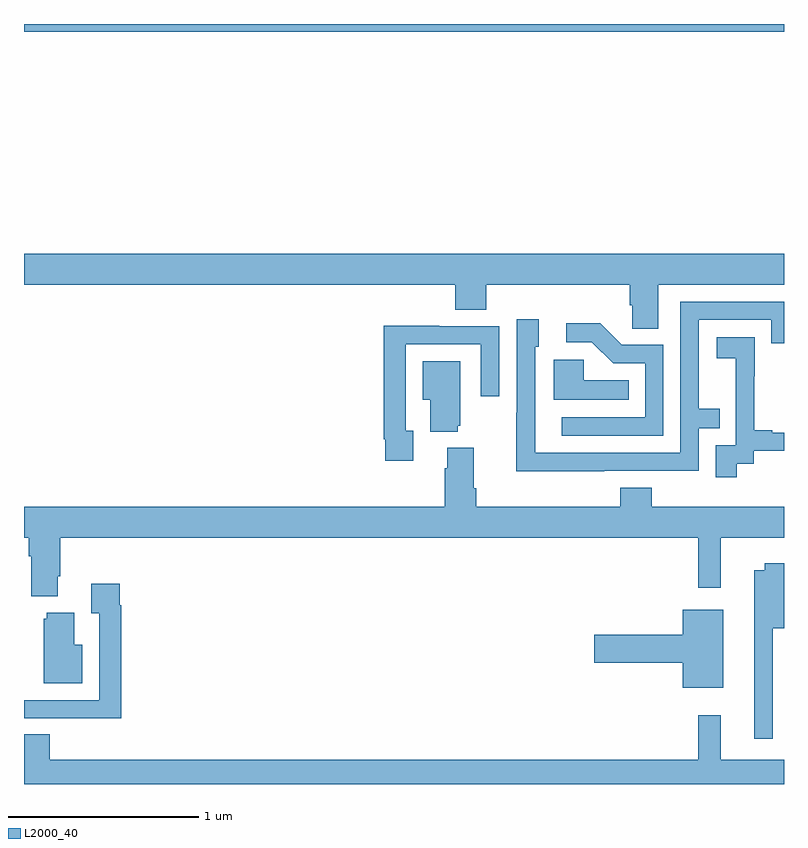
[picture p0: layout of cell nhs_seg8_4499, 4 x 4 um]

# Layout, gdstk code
import gdstk
lib = gdstk.Library(unit=1e-6, precision=1e-09)
def R(c, l, rs):  # rectangles x0, y0, x1, y1
    for r in rs: c.add(gdstk.rectangle(r[:2], r[2:], *l))
def P(c, l, *ps):  # polygons
    for p in ps: c.add(gdstk.Polygon(p, *l))
L2000_40 = (2000, 40)

nhs_seg8_4499 = lib.new_cell('nhs_seg8_4499')
R(nhs_seg8_4499, L2000_40, [(385,1089.86,389,1089.9)])
P(nhs_seg8_4499, L2000_40, [(388.339,1088.528),(389,1088.528),(389,1088.692),(385,1088.692),(385,1088.528),(387.269,1088.528),(387.269,1088.395),(387.434,1088.395),(387.434,1088.528),(388.187,1088.528),(388.187,1088.419),(388.2,1088.419),(388.2,1088.296),(388.339,1088.296)],
  [(388.055,1087.548),(388.551,1087.548),(388.551,1087.773),(388.661,1087.773),(388.661,1087.874),(388.551,1087.874),(388.551,1088.343),(388.932,1088.343),(388.932,1088.22),(389,1088.22),(389,1088.439),(388.455,1088.439),(388.455,1087.644),(387.691,1087.644),(387.691,1087.898),(387.69,1087.898),(387.69,1088.202),(387.709,1088.202),(387.709,1088.347),(387.594,1088.347),(387.594,1087.853),(387.592,1087.853),(387.592,1087.547),(388.055,1087.547)],
  [(388.365,1088.211),(388.146,1088.211),(388.033,1088.324),(387.855,1088.324),(387.855,1088.226),(387.989,1088.226),(388.1,1088.115),(388.269,1088.115),(388.269,1087.83),(387.831,1087.83),(387.831,1087.734),(388.365,1087.734)],
  [(387.049,1087.758),(387.009,1087.758),(387.009,1088.214),(387.405,1088.214),(387.405,1087.941),(387.501,1087.941),(387.501,1088.31),(387.185,1088.31),(387.185,1088.312),(386.893,1088.312),(386.893,1087.714),(386.901,1087.714),(386.901,1087.602),(387.049,1087.602)],
  [(388.75,1087.585),(388.842,1087.585),(388.842,1087.653),(389,1087.653),(389,1087.749),(388.939,1087.749),(388.939,1087.762),(388.844,1087.762),(388.844,1088.045),(388.845,1088.045),(388.845,1088.251),(388.647,1088.251),(388.647,1088.141),(388.745,1088.141),(388.745,1087.913),(388.746,1087.913),(388.746,1087.683),(388.641,1087.683),(388.641,1087.515),(388.75,1087.515)],
  [(388.184,1088.026),(387.945,1088.026),(387.945,1088.134),(387.788,1088.134),(387.788,1087.922),(388.184,1087.922)],
  [(387.284,1087.785),(387.295,1087.785),(387.295,1088.125),(387.098,1088.125),(387.098,1087.922),(387.137,1087.922),(387.137,1087.754),(387.284,1087.754)],
  [(385.177,1086.994),(385.19,1086.994),(385.19,1087.196),(388.549,1087.196),(388.549,1086.933),(388.668,1086.933),(388.668,1087.196),(389,1087.196),(389,1087.36),(388.304,1087.36),(388.304,1087.459),(388.139,1087.459),(388.139,1087.36),(387.38,1087.36),(387.38,1087.456),(387.367,1087.456),(387.367,1087.669),(387.227,1087.669),(387.227,1087.562),(387.215,1087.562),(387.215,1087.36),(385,1087.36),(385,1087.196),(385.025,1087.196),(385.025,1087.1),(385.037,1087.1),(385.037,1086.887),(385.177,1086.887)],
  [(388.941,1086.719),(389,1086.719),(389,1087.063),(388.898,1087.063),(388.898,1087.024),(388.844,1087.024),(388.844,1086.138),(388.941,1086.138)],
  [(385.511,1086.842),(385.504,1086.842),(385.504,1086.955),(385.355,1086.955),(385.355,1086.799),(385.395,1086.799),(385.395,1086.342),(385,1086.342),(385,1086.246),(385.219,1086.246),(385.219,1086.245),(385.511,1086.245)],
  [(388.681,1086.817),(388.466,1086.817),(388.466,1086.686),(388.002,1086.686),(388.002,1086.539),(388.466,1086.539),(388.466,1086.407),(388.681,1086.407)],
  [(385.306,1086.634),(385.264,1086.634),(385.264,1086.802),(385.121,1086.802),(385.121,1086.771),(385.103,1086.771),(385.103,1086.431),(385.306,1086.431)],
  [(389,1086.028),(388.667,1086.028),(388.667,1086.262),(388.549,1086.262),(388.549,1086.028),(385.136,1086.028),(385.136,1086.161),(385,1086.161),(385,1085.9),(389,1085.9)])

lib.write_gds('nhs_seg8_4499.gds')
